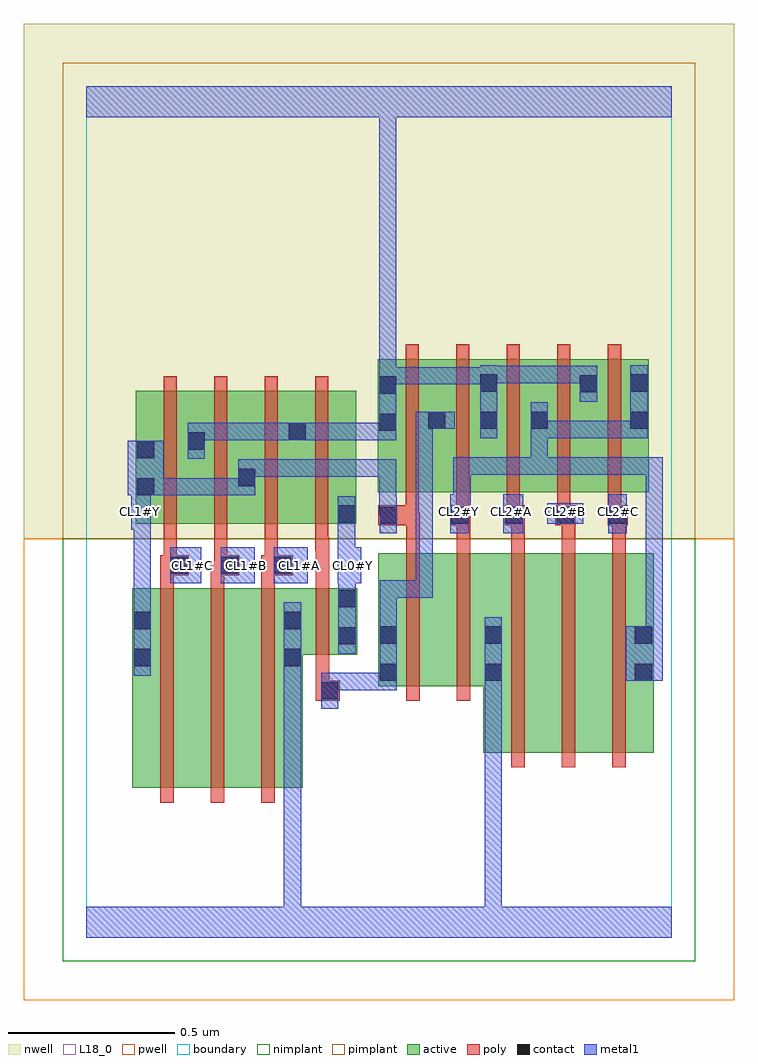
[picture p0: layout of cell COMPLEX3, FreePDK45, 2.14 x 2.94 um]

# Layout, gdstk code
import gdstk
lib = gdstk.Library(unit=1e-6, precision=1e-09)
def R(c, l, rs):  # rectangles x0, y0, x1, y1
    for r in rs: c.add(gdstk.rectangle(r[:2], r[2:], *l))
def A(c, l, x, y, w, h, nx, ny, dx, dy):  # array of equal rectangles
    R(c, l, [(x+i*dx, y+j*dy, x+i*dx+w, y+j*dy+h) for i in range(nx) for j in range(ny)])
active = (1, 0)
pwell = (2, 0)
nwell = (3, 0)
nimplant = (4, 0)
pimplant = (5, 0)
poly = (9, 0)
contact = (10, 0)
metal1 = (11, 0)
L18_0 = (18, 0)
boundary = (235, 0)

complex3 = lib.new_cell('COMPLEX3')
A(complex3, active, 0.148, 1.244, 0.06, 0.4, 4, 1, 0.152, 0)
A(complex3, active, 0.148, 1.244, 0.212, 0.4, 3, 1, 0.152, 0)
R(complex3, active, [(0.138,0.45,0.318,1.05), (0.318,0.45,0.47,1.05), (0.47,0.45,0.65,1.05), (0.138,0.556,0.198,1.05), (1.194,0.556,1.374,1.156), (1.194,0.556,1.254,0.94), (1.374,0.556,1.526,1.156), (1.526,0.556,1.706,1.156), (1.646,0.556,1.706,1.156), (0.878,0.756,1.058,1.156), (0.878,0.756,0.938,1.156), (1.058,0.756,1.254,1.156), (0.59,0.812,0.65,0.984), (0.59,0.85,0.814,1.05), (0.754,0.85,0.814,1.05), (0.604,1.244,0.812,1.644), (0.752,1.244,0.812,1.644), (0.876,1.34,1.084,1.74), (1.024,1.34,1.084,1.644), (1.024,1.34,1.24,1.74), (1.18,1.34,1.24,1.74), (1.18,1.34,1.392,1.74), (1.332,1.34,1.54,1.74), (1.332,1.34,1.392,1.644), (1.48,1.34,1.692,1.74), (1.48,1.34,1.54,1.696), (1.632,1.34,1.692,1.74), (0.876,1.452,0.936,1.74)])
R(complex3, pwell, [(-0.188,-0.188,1.948,1.2)])
R(complex3, nwell, [(-0.188,1.2,1.948,2.748)])
R(complex3, nimplant, [(-0.072,-0.072,1.832,1.2)])
R(complex3, pimplant, [(-0.072,1.2,1.832,2.632)])
A(complex3, poly, 0.222, 0.406, 0.04, 0.688, 3, 1, 0.152, 0)
A(complex3, poly, 1.278, 0.512, 0.04, 0.688, 3, 1, 0.152, 0)
A(complex3, poly, 0.222, 1.054, 0.04, 0.076, 3, 1, 0.152, 0)
A(complex3, poly, 0.232, 1.11, 0.04, 0.13, 3, 1, 0.152, 0)
A(complex3, poly, 1.278, 1.16, 0.04, 0.12, 3, 1, 0.152, 0)
A(complex3, poly, 0.232, 1.2, 0.04, 0.488, 4, 1, 0.152, 0)
A(complex3, poly, 0.96, 1.26, 0.04, 0.076, 5, 1, 0.152, 0)
A(complex3, poly, 0.96, 1.296, 0.04, 0.488, 5, 1, 0.152, 0)
R(complex3, poly, [(0.69,0.712,0.762,0.772), (0.962,0.712,1.002,1.2), (1.114,0.712,1.154,1.2), (0.69,0.732,0.73,0.846), (0.69,0.806,0.73,1.094), (0.69,1.054,0.73,1.204), (0.222,1.09,0.308,1.15), (0.374,1.09,0.424,1.13), (0.384,1.09,0.424,1.13), (0.384,1.09,0.46,1.15), (0.526,1.09,0.62,1.15), (0.232,1.11,0.272,1.15), (0.232,1.11,0.272,1.15), (0.536,1.11,0.576,1.15), (0.536,1.11,0.576,1.15), (0.962,1.16,1.002,1.28), (1.114,1.16,1.154,1.28), (0.688,1.164,0.728,1.24), (0.688,1.164,0.728,1.204), (0.688,1.164,0.728,1.204), (0.688,1.164,0.73,1.204), (0.878,1.24,1,1.3), (0.96,1.24,1,1.28), (0.96,1.24,1.002,1.28), (1.094,1.24,1.154,1.3), (1.114,1.24,1.154,1.28), (1.114,1.24,1.154,1.28), (1.258,1.24,1.318,1.3), (1.41,1.24,1.47,1.3), (1.568,1.24,1.628,1.3), (1.264,1.26,1.304,1.3), (1.264,1.26,1.304,1.3), (1.416,1.26,1.456,1.3), (1.416,1.26,1.456,1.3), (1.568,1.26,1.608,1.3), (1.568,1.26,1.608,1.3)])
R(complex3, contact, [(0.706,0.716,0.758,0.768), (0.882,0.772,0.934,0.824), (1.198,0.772,1.25,0.824), (1.65,0.772,1.702,0.824), (0.142,0.816,0.194,0.868), (0.594,0.816,0.646,0.868), (0.758,0.882,0.81,0.934), (0.882,0.884,0.934,0.936), (1.198,0.884,1.25,0.936), (1.65,0.884,1.702,0.936), (0.142,0.928,0.194,0.98), (0.594,0.928,0.646,0.98), (0.758,0.994,0.81,1.046), (0.252,1.094,0.304,1.146), (0.404,1.094,0.456,1.146), (0.564,1.094,0.616,1.146), (0.882,1.244,0.934,1.296), (1.098,1.244,1.15,1.296), (1.262,1.244,1.314,1.296), (1.414,1.244,1.466,1.296), (1.572,1.244,1.624,1.296), (0.756,1.248,0.808,1.3), (0.152,1.33,0.204,1.382), (0.456,1.358,0.508,1.41), (0.152,1.442,0.204,1.494), (0.304,1.468,0.356,1.52), (0.608,1.496,0.66,1.548), (0.88,1.524,0.932,1.576), (1.028,1.53,1.08,1.582), (1.184,1.53,1.236,1.582), (1.336,1.53,1.388,1.582), (1.636,1.53,1.688,1.582), (0.88,1.636,0.932,1.688), (1.484,1.64,1.536,1.692), (1.184,1.642,1.236,1.694), (1.636,1.642,1.688,1.694)])
R(complex3, metal1, [(0,0,1.76,0.092), (0.594,0.04,0.646,0.092), (0.594,0.04,0.646,0.092), (0.594,0.04,0.646,0.092), (0.594,0.04,0.646,0.092), (0.594,0.04,0.646,0.092), (0.594,0.04,0.646,0.092), (0.594,0.04,0.646,0.84), (1.198,0.04,1.25,0.092), (1.198,0.04,1.25,0.092), (1.198,0.04,1.25,0.796), (0.706,0.688,0.758,0.796), (0.706,0.744,0.822,0.796), (0.77,0.744,0.822,0.796), (0.77,0.744,0.822,0.796), (0.77,0.744,0.822,0.796), (0.77,0.744,0.934,0.796), (0.882,0.744,0.934,0.964), (1.198,0.744,1.25,0.796), (1.198,0.744,1.25,0.796), (1.198,0.744,1.25,0.796), (1.198,0.744,1.25,0.796), (1.198,0.744,1.25,0.796), (1.198,0.744,1.25,0.796), (1.198,0.744,1.25,0.964), (1.622,0.772,1.734,0.936), (0.142,0.788,0.194,1.008), (0.594,0.788,0.646,0.84), (0.594,0.788,0.646,0.84), (0.594,0.788,0.646,1.008), (0.758,0.854,0.81,1.074), (1.682,0.884,1.734,1.444), (0.882,0.912,0.934,0.964), (0.882,0.912,0.934,0.964), (0.882,0.912,0.934,1.074), (0.142,0.956,0.194,1.278), (0.758,1.022,0.81,1.118), (0.882,1.022,0.934,1.074), (0.882,1.022,0.936,1.074), (0.884,1.022,0.936,1.074), (0.884,1.022,1.042,1.074), (0.99,1.022,1.042,1.074), (0.99,1.022,1.042,1.074), (0.99,1.022,1.042,1.074), (0.99,1.022,1.042,1.582), (0.252,1.066,0.346,1.174), (0.404,1.066,0.506,1.174), (0.564,1.066,0.666,1.174), (0.756,1.066,0.826,1.174), (0.756,1.122,0.808,1.174), (0.756,1.122,0.808,1.174), (0.756,1.122,0.808,1.272), (0.882,1.216,0.934,1.324), (1.094,1.216,1.15,1.334), (1.254,1.216,1.314,1.334), (1.57,1.216,1.626,1.334), (0.756,1.22,0.808,1.328), (0.134,1.226,0.194,1.334), (1.386,1.244,1.494,1.306), (0.88,1.272,0.932,1.324), (0.88,1.272,0.934,1.324), (0.88,1.272,0.932,1.438), (0.134,1.282,0.186,1.382), (1.098,1.282,1.156,1.334), (1.104,1.282,1.156,1.444), (0.124,1.33,0.232,1.494), (0.134,1.33,0.186,1.382), (0.134,1.33,0.186,1.382), (0.18,1.33,0.232,1.382), (0.18,1.33,0.232,1.382), (0.18,1.33,0.398,1.382), (0.346,1.33,0.398,1.382), (0.346,1.33,0.398,1.382), (0.346,1.33,0.398,1.382), (0.346,1.33,0.508,1.382), (0.456,1.33,0.508,1.438), (0.456,1.386,0.632,1.438), (0.58,1.386,0.632,1.438), (0.58,1.386,0.632,1.438), (0.58,1.386,0.632,1.438), (0.58,1.386,0.632,1.438), (0.58,1.386,0.632,1.438), (0.58,1.386,0.798,1.438), (0.746,1.386,0.798,1.438), (0.746,1.386,0.798,1.438), (0.746,1.386,0.798,1.438), (0.746,1.386,0.932,1.438), (0.88,1.386,0.932,1.438), (0.88,1.386,0.932,1.438), (0.88,1.386,0.932,1.438), (1.104,1.392,1.292,1.444), (1.24,1.392,1.292,1.444), (1.24,1.392,1.388,1.444), (1.336,1.392,1.388,1.444), (1.336,1.392,1.512,1.444), (1.336,1.392,1.388,1.554), (1.46,1.392,1.512,1.444), (1.46,1.392,1.512,1.444), (1.46,1.392,1.512,1.444), (1.46,1.392,1.734,1.444), (1.682,1.392,1.734,1.444), (1.682,1.392,1.734,1.444), (1.682,1.392,1.734,1.444), (1.682,1.392,1.734,1.444), (1.682,1.392,1.734,1.444), (0.304,1.44,0.356,1.548), (0.304,1.496,0.356,1.548), (0.304,1.496,0.356,1.548), (0.304,1.496,0.522,1.548), (0.47,1.496,0.522,1.548), (0.47,1.496,0.522,1.548), (0.47,1.496,0.522,1.548), (0.47,1.496,0.632,1.548), (0.58,1.496,0.688,1.548), (0.636,1.496,0.822,1.548), (0.77,1.496,0.822,1.548), (0.77,1.496,0.822,1.548), (0.77,1.496,0.822,1.548), (0.77,1.496,0.932,1.548), (0.88,1.496,0.932,1.716), (1.184,1.502,1.236,1.722), (1.336,1.502,1.388,1.61), (1.336,1.502,1.512,1.554), (1.46,1.502,1.512,1.554), (1.46,1.502,1.512,1.554), (1.46,1.502,1.512,1.554), (1.46,1.502,1.688,1.554), (1.636,1.502,1.688,1.554), (1.636,1.502,1.688,1.554), (1.636,1.502,1.688,1.722), (0.99,1.53,1.108,1.582), (1.484,1.612,1.536,1.72), (0.88,1.664,0.936,1.716), (0.88,1.664,0.932,2.52), (0.884,1.664,0.936,1.716), (0.884,1.664,1.046,1.716), (0.994,1.664,1.046,1.716), (0.994,1.664,1.046,1.716), (0.994,1.664,1.046,1.716), (0.994,1.664,1.236,1.716), (1.184,1.668,1.26,1.72), (1.208,1.668,1.26,1.72), (1.208,1.668,1.402,1.72), (1.35,1.668,1.402,1.72), (1.35,1.668,1.402,1.72), (1.35,1.668,1.402,1.72), (1.35,1.668,1.536,1.72), (0,2.468,1.76,2.56), (0.88,2.468,0.932,2.52), (0.88,2.468,0.932,2.52), (0.88,2.468,0.932,2.52), (0.88,2.468,0.932,2.52), (0.88,2.468,0.932,2.52), (0.88,2.468,0.932,2.52), (0.88,2.468,0.932,2.52), (0.88,2.468,0.932,2.52), (0.88,2.468,0.932,2.52), (0.88,2.468,0.932,2.52), (0.88,2.468,0.932,2.52), (0.88,2.468,0.932,2.52), (0.88,2.468,0.932,2.52), (0.88,2.468,0.932,2.52), (0.88,2.468,0.932,2.52), (0.88,2.468,0.932,2.52)])
A(complex3, L18_0, 0.294, 1.094, 0.052, 0.052, 4, 1, 0.16, 0)
A(complex3, L18_0, 1.094, 1.254, 0.052, 0.052, 4, 1, 0.16, 0)
R(complex3, L18_0, [(0,0,1.76,0.092), (0.594,0.04,0.646,0.092), (0.594,0.04,0.646,0.092), (0.594,0.04,0.646,0.092), (0.594,0.04,0.646,0.092), (0.594,0.04,0.646,0.092), (0.594,0.04,0.646,0.092), (0.594,0.04,0.646,0.84), (1.198,0.04,1.25,0.092), (1.198,0.04,1.25,0.092), (1.198,0.04,1.25,0.796), (1.198,0.744,1.25,0.964), (1.198,0.744,1.25,0.796), (1.198,0.744,1.25,0.796), (1.198,0.744,1.25,0.796), (1.198,0.744,1.25,0.796), (1.198,0.744,1.25,0.796), (1.198,0.744,1.25,0.796), (1.622,0.772,1.734,0.936), (0.142,0.788,0.194,1.008), (0.594,0.788,0.646,1.008), (0.594,0.788,0.646,0.84), (0.594,0.788,0.646,0.84), (0.758,0.854,0.81,1.074), (1.682,0.884,1.734,1.444), (0.142,0.956,0.194,1.278), (0.758,1.022,0.81,1.118), (0.252,1.066,0.346,1.174), (0.404,1.066,0.506,1.174), (0.564,1.066,0.666,1.174), (0.756,1.066,0.826,1.174), (0.756,1.122,0.808,1.174), (0.756,1.122,0.808,1.174), (0.756,1.122,0.808,1.272), (0.882,1.216,0.934,1.324), (1.094,1.216,1.15,1.334), (1.254,1.216,1.314,1.334), (1.57,1.216,1.626,1.334), (0.756,1.22,0.808,1.328), (0.134,1.226,0.194,1.334), (1.386,1.244,1.494,1.306), (0.134,1.254,0.186,1.306), (0.88,1.272,0.932,1.324), (0.88,1.272,0.932,1.438), (0.88,1.272,0.934,1.324), (0.134,1.282,0.186,1.382), (1.098,1.282,1.156,1.334), (1.104,1.282,1.156,1.444), (0.124,1.33,0.232,1.494), (0.134,1.33,0.186,1.382), (0.134,1.33,0.186,1.382), (0.18,1.33,0.232,1.382), (0.18,1.33,0.232,1.382), (0.18,1.33,0.398,1.382), (0.346,1.33,0.398,1.382), (0.346,1.33,0.398,1.382), (0.346,1.33,0.398,1.382), (0.346,1.33,0.508,1.382), (0.456,1.33,0.508,1.438), (0.456,1.386,0.632,1.438), (0.58,1.386,0.632,1.438), (0.58,1.386,0.632,1.438), (0.58,1.386,0.632,1.438), (0.58,1.386,0.632,1.438), (0.58,1.386,0.632,1.438), (0.58,1.386,0.798,1.438), (0.746,1.386,0.798,1.438), (0.746,1.386,0.798,1.438), (0.746,1.386,0.798,1.438), (0.746,1.386,0.932,1.438), (0.88,1.386,0.932,1.438), (0.88,1.386,0.932,1.438), (0.88,1.386,0.932,1.438), (1.104,1.392,1.292,1.444), (1.24,1.392,1.292,1.444), (1.24,1.392,1.388,1.444), (1.336,1.392,1.388,1.444), (1.336,1.392,1.512,1.444), (1.336,1.392,1.388,1.554), (1.46,1.392,1.512,1.444), (1.46,1.392,1.512,1.444), (1.46,1.392,1.512,1.444), (1.46,1.392,1.734,1.444), (1.682,1.392,1.734,1.444), (1.682,1.392,1.734,1.444), (1.682,1.392,1.734,1.444), (1.682,1.392,1.734,1.444), (1.682,1.392,1.734,1.444), (0.304,1.44,0.356,1.548), (0.304,1.496,0.356,1.548), (0.304,1.496,0.356,1.548), (0.304,1.496,0.522,1.548), (0.47,1.496,0.522,1.548), (0.47,1.496,0.522,1.548), (0.47,1.496,0.522,1.548), (0.47,1.496,0.632,1.548), (0.58,1.496,0.688,1.548), (0.636,1.496,0.822,1.548), (0.77,1.496,0.822,1.548), (0.77,1.496,0.822,1.548), (0.77,1.496,0.822,1.548), (0.77,1.496,0.932,1.548), (0.88,1.496,0.932,1.716), (1.184,1.502,1.236,1.722), (1.336,1.502,1.388,1.61), (1.336,1.502,1.512,1.554), (1.46,1.502,1.512,1.554), (1.46,1.502,1.512,1.554), (1.46,1.502,1.512,1.554), (1.46,1.502,1.688,1.554), (1.636,1.502,1.688,1.722), (1.636,1.502,1.688,1.554), (1.636,1.502,1.688,1.554), (1.484,1.612,1.536,1.72), (0.88,1.664,0.932,2.52), (0.88,1.664,0.936,1.716), (0.884,1.664,0.936,1.716), (0.884,1.664,1.046,1.716), (0.994,1.664,1.046,1.716), (0.994,1.664,1.046,1.716), (0.994,1.664,1.046,1.716), (0.994,1.664,1.236,1.716), (1.184,1.668,1.26,1.72), (1.208,1.668,1.26,1.72), (1.208,1.668,1.402,1.72), (1.35,1.668,1.402,1.72), (1.35,1.668,1.402,1.72), (1.35,1.668,1.402,1.72), (1.35,1.668,1.536,1.72), (0,2.468,1.76,2.56), (0.88,2.468,0.932,2.52), (0.88,2.468,0.932,2.52), (0.88,2.468,0.932,2.52), (0.88,2.468,0.932,2.52), (0.88,2.468,0.932,2.52), (0.88,2.468,0.932,2.52), (0.88,2.468,0.932,2.52), (0.88,2.468,0.932,2.52), (0.88,2.468,0.932,2.52), (0.88,2.468,0.932,2.52), (0.88,2.468,0.932,2.52), (0.88,2.468,0.932,2.52), (0.88,2.468,0.932,2.52), (0.88,2.468,0.932,2.52), (0.88,2.468,0.932,2.52), (0.88,2.468,0.932,2.52)])
R(complex3, boundary, [(0,0,1.76,2.56)])
complex3.add(gdstk.Label('CL0#Y', (0.8,1.12), layer=11, texttype=0))
complex3.add(gdstk.Label('CL1#A', (0.64,1.12), layer=11, texttype=0))
complex3.add(gdstk.Label('CL1#B', (0.48,1.12), layer=11, texttype=0))
complex3.add(gdstk.Label('CL1#C', (0.32,1.12), layer=11, texttype=0))
complex3.add(gdstk.Label('CL1#Y', (0.16,1.28), layer=11, texttype=0))
complex3.add(gdstk.Label('CL2#A', (1.28,1.28), layer=11, texttype=0))
complex3.add(gdstk.Label('CL2#B', (1.44,1.28), layer=11, texttype=0))
complex3.add(gdstk.Label('CL2#C', (1.6,1.28), layer=11, texttype=0))
complex3.add(gdstk.Label('CL2#Y', (1.12,1.28), layer=11, texttype=0))

lib.write_gds('COMPLEX3.gds')
